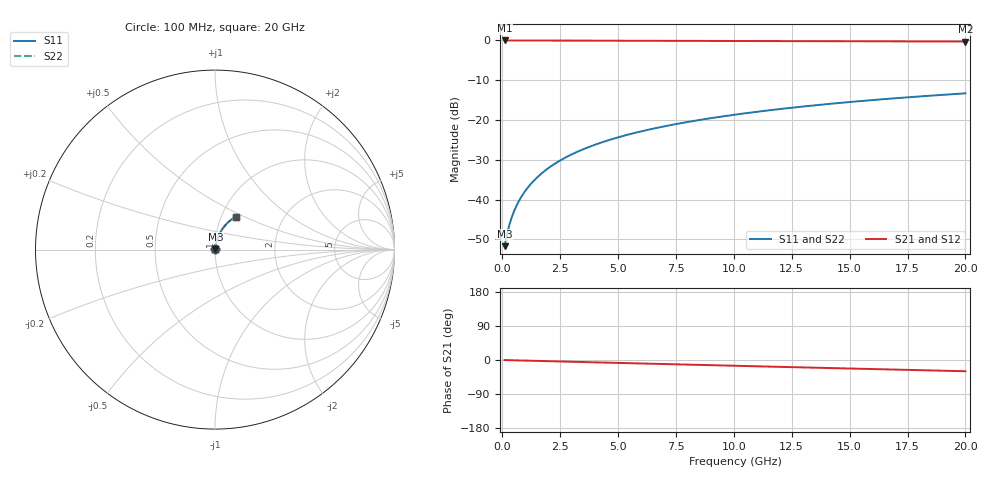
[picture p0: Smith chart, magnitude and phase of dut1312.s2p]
! Touchstone file exported from HFSS 2026.1.0
!  File:  C:/ffzhzh/LocalFiles/Ansys_Project_Files/temp_train_BSMRDL_1312_1783178377_43440.aedt
!  Generated:  11:20:48 PM Jul  4, 2026
!  Design:  BSMRDL
!  Project:  temp_train_BSMRDL_1312_1783178377_43440
! Variables:
!  h_bsmrdl = 4.31um
!  h_ox = 20um
!  h_rdl = 5um
!  h_sub = 80um
!  h_tmrdl = 5um
!  h_tsv = 80um
!  h_via = 3um
!  l_bsmrdl = 465.54um
!  l_sub = 865.54um
!  l_tmrdl = 200um
!  m_sub = 200um
!  pitch = 33.94um
!  r_tsv = 6um
!  s_tmrdl = 10um
!  w_bsmrdl = 19.12um
!  w_sub = 500um
!  w_tmrdl = 12um
!  x_tsv_center1 = 206um
!  x_tsv_center2 = 690.66um
!  x_tsv_center3 = 902.66um
!  x_tsv_center4 = 1387.32um
!  x_tsv_center5 = 1599.32um
!  x_tsv_center6 = 2083.98um
# GHz S MA R 50.000000
! Terminal data exported
! Port[1] = BSM_RDL1_1_T1
! Port[2] = BSM_RDL1_1_T2
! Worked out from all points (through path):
!   200 points, 100 MHz to 20 GHz, reference 50 ohm
!   highest |S21| = -0.02 dB at 100 MHz (marker M1); lowest = -0.3 dB at 20 GHz (marker M2)
!   group delay of S21, straight-line fit = 4.11 ps
!   lowest |S11| = -51.7 dB at 100 MHz (marker M3), VSWR 1.01, Z = 50.2 + j0.144 ohm
!   |S11| at or under -10 dB: start of sweep to end of sweep
!   |S22| runs from -51.7 to -13.3 dB; largest |S21 - S12| = 4.3e-15
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0.1  0.002604 33.3  0.9978 -0.2  0.9978 -0.2  0.002604 33.3
! Gamma 0 0 0 0
! Port Impedance 50 0 50 0
0.2  0.003625 50.3  0.9977 -0.3  0.9977 -0.3  0.003625 50.3
0.3  0.004764 58.8  0.9976 -0.5  0.9976 -0.5  0.004764 58.7
0.4  0.005917 63.8  0.9974 -0.6  0.9974 -0.6  0.005916 63.8
0.5  0.007072 67.2  0.9974 -0.8  0.9974 -0.8  0.007072 67.2
0.6  0.008232 69.8  0.9973 -1.0  0.9973 -1.0  0.008232 69.8
0.8  0.01058 73.3  0.9972 -1.3  0.9972 -1.3  0.01058 73.3
1.1  0.01415 76.3  0.997 -1.7  0.997 -1.7  0.01415 76.3
1.3  0.01655 77.5  0.9969 -2.0  0.9969 -2.0  0.01655 77.5
1.6  0.02017 78.6  0.9967 -2.5  0.9967 -2.5  0.02017 78.6
2.1  0.02621 79.4  0.9964 -3.3  0.9964 -3.3  0.02621 79.4
2.7  0.03344 79.6  0.9959 -4.2  0.9959 -4.2  0.03344 79.6
3.5  0.043 79.2  0.9951 -5.4  0.9951 -5.4  0.043 79.2
4.2  0.05125 78.5  0.9943 -6.5  0.9943 -6.5  0.05125 78.5
5  0.06057 77.6  0.9932 -7.7  0.9932 -7.7  0.06057 77.6
5.9  0.07089 76.5  0.992 -9.1  0.992 -9.1  0.07089 76.5
6.8  0.08107 75.4  0.9907 -10.4  0.9907 -10.4  0.08107 75.4
8.3  0.09773 73.4  0.9885 -12.7  0.9885 -12.7  0.09773 73.4
10.1  0.1173 71.0  0.9856 -15.3  0.9856 -15.3  0.1173 71.0
13.4  0.152 66.6  0.9797 -20.2  0.9797 -20.2  0.152 66.6
16.7  0.185 62.1  0.9731 -24.9  0.9731 -24.9  0.185 62.1
20  0.2162 57.6  0.966 -29.7  0.966 -29.7  0.2162 57.6
